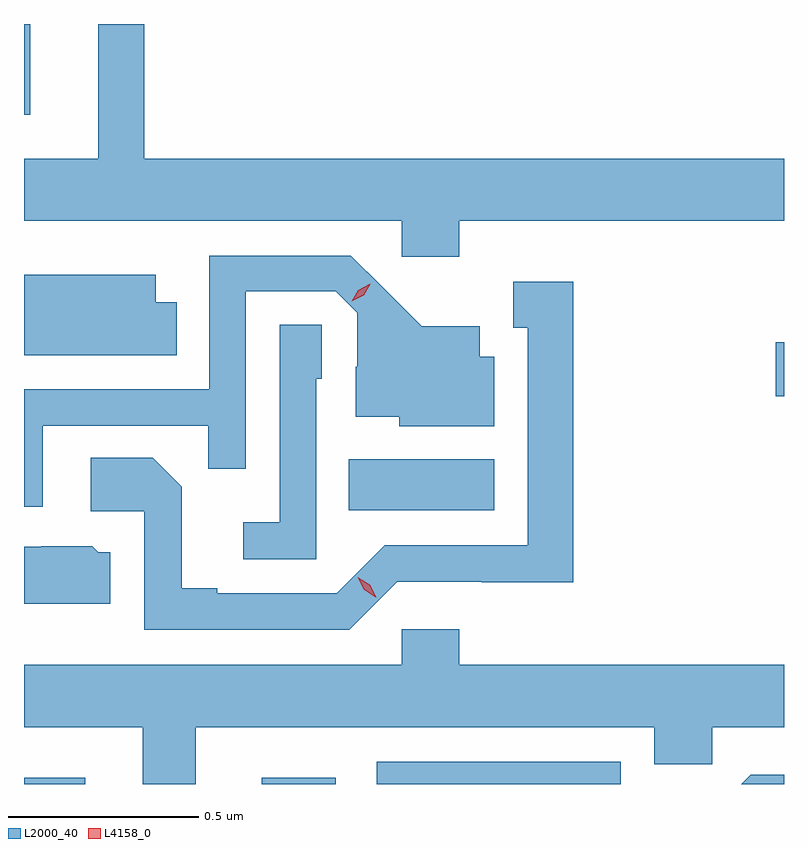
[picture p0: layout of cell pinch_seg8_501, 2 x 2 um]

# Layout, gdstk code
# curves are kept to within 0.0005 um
import gdstk
lib = gdstk.Library(unit=1e-6, precision=1e-09)
def R(c, l, rs):  # rectangles x0, y0, x1, y1
    for r in rs: c.add(gdstk.rectangle(r[:2], r[2:], *l))
def P(c, l, *ps):  # polygons
    for p in ps: c.add(gdstk.Polygon(p, *l))
L2000_40 = (2000, 40)
L4158_0 = (4158, 0)

pinch_seg8_501 = lib.new_cell('pinch_seg8_501')
R(pinch_seg8_501, L2000_40, [(210.662,1131.002,210.823,1131.019), (211.287,1131.002,211.483,1131.019), (211.59,1131.002,212.232,1131.06), (211.516,1131.722,211.9,1131.856), (212.64,1132.022,212.662,1132.164), (210.662,1132.763,210.679,1133.002)])
P(pinch_seg8_501, L2000_40, [(211.808,1132.484),(212.662,1132.484),(212.662,1132.648),(210.979,1132.648),(210.979,1133.002),(210.857,1133.002),(210.857,1132.648),(210.662,1132.648),(210.662,1132.484),(211.656,1132.484),(211.656,1132.389),(211.808,1132.389)],
  [(210.711,1131.945),(211.147,1131.945),(211.147,1131.832),(211.245,1131.832),(211.245,1132.299),(211.482,1132.299),(211.539,1132.242),(211.539,1132.1),(211.535,1132.1),(211.535,1131.968),(211.65,1131.968),(211.65,1131.944),(211.9,1131.944),(211.9,1132.126),(211.861,1132.126),(211.861,1132.207),(211.709,1132.207),(211.522,1132.392),(211.149,1132.392),(211.149,1132.041),(210.662,1132.041),(210.662,1131.732),(210.711,1131.732)],
  [(211.064,1132.27),(211.009,1132.27),(211.009,1132.342),(210.662,1132.342),(210.662,1132.13),(211.064,1132.13)],
  [(211.644,1131.534),(211.866,1131.534),(211.866,1131.533),(212.107,1131.533),(212.107,1132.324),(211.949,1132.324),(211.949,1132.203),(211.988,1132.203),(211.988,1131.63),(211.611,1131.63),(211.485,1131.504),(211.171,1131.504),(211.171,1131.517),(211.077,1131.517),(211.077,1131.784),(211.001,1131.86),(210.837,1131.86),(210.837,1131.72),(210.978,1131.72),(210.978,1131.408),(211.518,1131.408)],
  [(211.431,1132.068),(211.446,1132.068),(211.446,1132.211),(211.335,1132.211),(211.335,1131.691),(211.239,1131.691),(211.239,1131.594),(211.431,1131.594)],
  [(210.889,1131.612),(210.858,1131.612),(210.842,1131.628),(210.708,1131.628),(210.708,1131.627),(210.662,1131.627),(210.662,1131.476),(210.889,1131.476)],
  [(211.114,1131.152),(212.321,1131.152),(212.321,1131.054),(212.473,1131.054),(212.473,1131.152),(212.662,1131.152),(212.662,1131.316),(211.808,1131.316),(211.808,1131.409),(211.656,1131.409),(211.656,1131.316),(210.662,1131.316),(210.662,1131.152),(210.974,1131.152),(210.974,1131.002),(211.114,1131.002)],
  [(212.662,1131.027),(212.574,1131.027),(212.549,1131.002),(212.662,1131.002)])
P(pinch_seg8_501, L4158_0, [(211.588,1131.493),(211.557,1131.513),(211.54,1131.546),(211.54,1131.546),(211.54,1131.546),(211.572,1131.526),(211.589,1131.493),(211.589,1131.493)],
  [(211.524,1132.273),(211.524,1132.273),(211.542,1132.302),(211.573,1132.318),(211.573,1132.318),(211.573,1132.317),(211.556,1132.288),(211.525,1132.273)])

lib.write_gds('pinch_seg8_501.gds')
